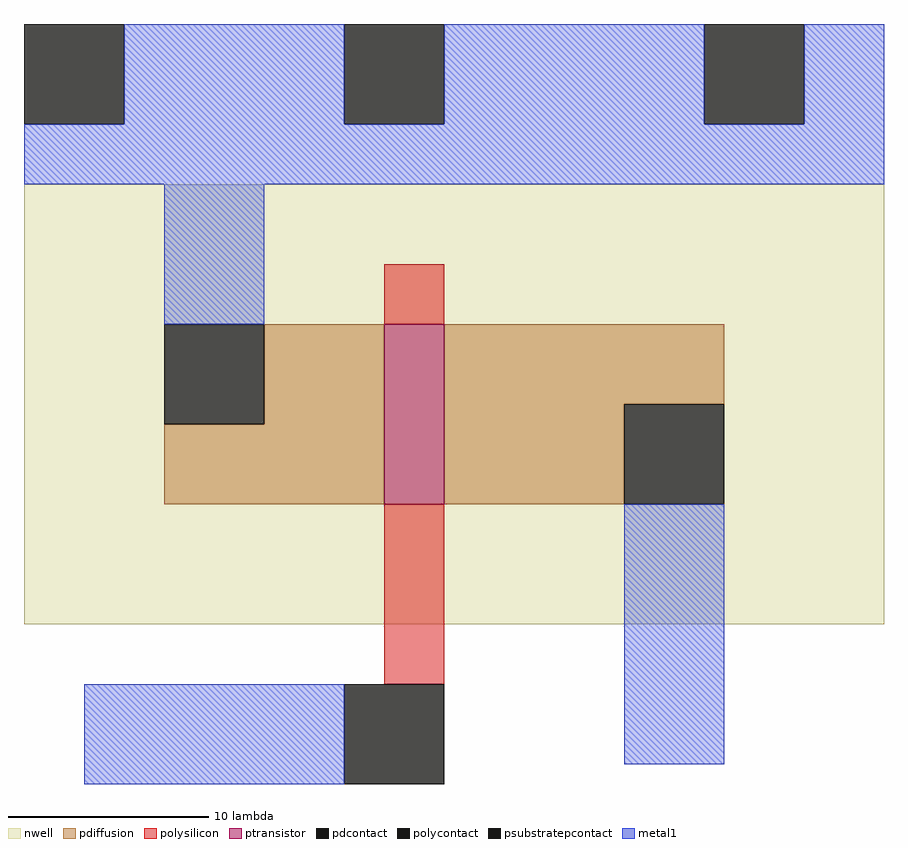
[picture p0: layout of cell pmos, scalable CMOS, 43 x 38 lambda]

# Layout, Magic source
magic
tech scmos
<< nwell >>
rect -22 5 21 27
<< ptransistor >>
rect -4 11 -1 20
<< pdiffusion >>
rect -10 15 -4 20
rect -15 11 -4 15
rect -1 16 13 20
rect -1 11 8 16
<< pdcontact >>
rect -15 15 -10 20
rect 8 11 13 16
<< psubstratepcontact >>
rect -22 30 -17 35
rect -6 30 -1 35
rect 12 30 17 35
<< polysilicon >>
rect -4 20 -1 23
rect -4 2 -1 11
<< polycontact >>
rect -6 -3 -1 2
<< metal1 >>
rect -17 30 -6 35
rect -1 30 12 35
rect 17 30 21 35
rect -22 27 21 30
rect -15 20 -10 27
rect -19 -3 -6 2
rect 8 -2 13 11
<< end >>
